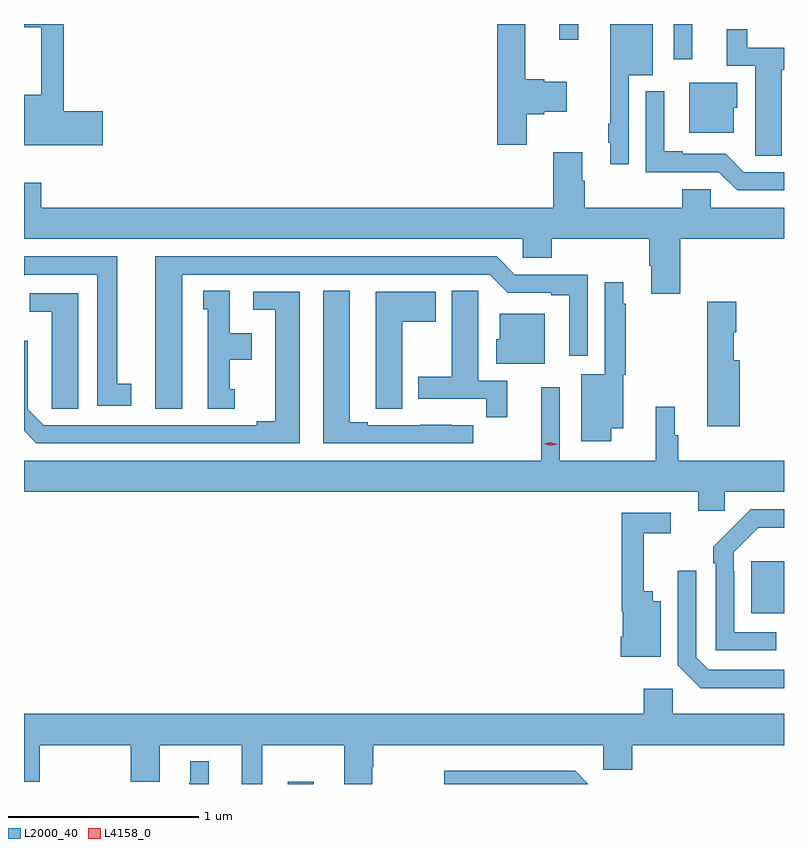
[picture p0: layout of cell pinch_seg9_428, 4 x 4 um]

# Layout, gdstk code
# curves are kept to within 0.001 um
import gdstk
lib = gdstk.Library(unit=1e-6, precision=1e-09)
def R(c, l, rs):  # rectangles x0, y0, x1, y1
    for r in rs: c.add(gdstk.rectangle(r[:2], r[2:], *l))
def P(c, l, *ps):  # polygons
    for p in ps: c.add(gdstk.Polygon(p, *l))
L2000_40 = (2000, 40)
L4158_0 = (4158, 0)

pinch_seg9_428 = lib.new_cell('pinch_seg9_428')
R(pinch_seg9_428, L2000_40, [(243.722,1209.535,243.859,1209.547), (246.161,1210.433,246.334,1210.708), (245.754,1213.35,245.852,1213.535), (245.15,1213.452,245.25,1213.535)])
P(pinch_seg9_428, L2000_40, [(244.98,1213.061),(245.073,1213.061),(245.073,1213.073),(245.191,1213.073),(245.191,1213.231),(245.073,1213.231),(245.073,1213.244),(244.972,1213.244),(244.972,1213.535),(244.826,1213.535),(244.826,1212.9),(244.98,1212.9)],
  [(245.517,1213.265),(245.644,1213.265),(245.644,1213.535),(245.42,1213.535),(245.42,1213.269),(245.419,1213.269),(245.419,1213.01),(245.409,1213.01),(245.409,1212.91),(245.42,1212.91),(245.42,1212.798),(245.517,1212.798)],
  [(242.749,1213.076),(242.543,1213.076),(242.543,1213.535),(242.334,1213.535),(242.334,1213.518),(242.426,1213.518),(242.426,1213.162),(242.336,1213.162),(242.336,1212.898),(242.749,1212.898)],
  [(246.322,1213.294),(246.334,1213.294),(246.334,1213.41),(246.14,1213.41),(246.14,1213.507),(246.032,1213.507),(246.032,1213.314),(246.182,1213.314),(246.182,1212.952),(246.183,1212.952),(246.183,1212.841),(246.322,1212.841)],
  [(246.07,1213.095),(246.088,1213.095),(246.088,1213.225),(245.834,1213.225),(245.834,1212.962),(246.07,1212.962)],
  [(246.334,1212.756),(246.123,1212.756),(246.027,1212.852),(245.8,1212.852),(245.8,1212.865),(245.704,1212.865),(245.704,1213.18),(245.607,1213.18),(245.607,1212.756),(245.991,1212.756),(246.087,1212.66),(246.334,1212.66)],
  [(245.789,1212.404),(246.334,1212.404),(246.334,1212.568),(245.949,1212.568),(245.949,1212.666),(245.798,1212.666),(245.798,1212.568),(245.285,1212.568),(245.285,1212.71),(245.272,1212.71),(245.272,1212.859),(245.12,1212.859),(245.12,1212.568),(242.426,1212.568),(242.426,1212.7),(242.334,1212.7),(242.334,1212.404),(244.959,1212.404),(244.959,1212.306),(245.111,1212.306),(245.111,1212.404),(245.624,1212.404),(245.624,1212.262),(245.636,1212.262),(245.636,1212.114),(245.789,1212.114)],
  [(242.899,1211.642),(242.824,1211.642),(242.824,1212.312),(242.334,1212.312),(242.334,1212.21),(242.34,1212.216),(242.72,1212.216),(242.72,1211.526),(242.899,1211.526)],
  [(243.166,1212.216),(244.785,1212.216),(244.881,1212.12),(245.108,1212.12),(245.108,1212.108),(245.204,1212.108),(245.204,1211.79),(245.301,1211.79),(245.301,1212.216),(244.917,1212.216),(244.821,1212.312),(243.026,1212.312),(243.026,1211.511),(243.166,1211.511)],
  [(245.425,1211.408),(245.488,1211.408),(245.488,1211.688),(245.5,1211.688),(245.5,1212.062),(245.488,1212.062),(245.488,1212.175),(245.391,1212.175),(245.391,1211.692),(245.267,1211.692),(245.267,1211.34),(245.425,1211.34)],
  [(244.699,1211.424),(244.586,1211.424),(244.586,1211.425),(244.42,1211.425),(244.42,1211.424),(244.144,1211.424),(244.144,1211.439),(244.048,1211.439),(244.048,1212.131),(243.908,1212.131),(243.908,1211.328),(244.699,1211.328)],
  [(243.442,1211.613),(243.418,1211.613),(243.418,1211.768),(243.532,1211.768),(243.532,1211.908),(243.418,1211.908),(243.418,1212.131),(243.278,1212.131),(243.278,1212.033),(243.302,1212.033),(243.302,1211.511),(243.442,1211.511)],
  [(244.877,1211.658),(244.726,1211.658),(244.726,1212.02),(244.725,1212.02),(244.725,1212.131),(244.586,1212.131),(244.586,1211.679),(244.409,1211.679),(244.409,1211.562),(244.768,1211.562),(244.768,1211.466),(244.877,1211.466)],
  [(244.324,1211.968),(244.501,1211.968),(244.501,1212.127),(244.184,1212.127),(244.184,1211.617),(244.185,1211.617),(244.185,1211.509),(244.324,1211.509)],
  [(243.784,1212.126),(243.54,1212.126),(243.54,1212.03),(243.656,1212.03),(243.656,1211.444),(243.56,1211.444),(243.56,1211.424),(242.439,1211.424),(242.355,1211.508),(242.355,1211.869),(242.334,1211.869),(242.334,1211.393),(242.399,1211.328),(243.784,1211.328)],
  [(242.62,1212.117),(242.364,1212.117),(242.364,1212.02),(242.48,1212.02),(242.48,1211.617),(242.481,1211.617),(242.481,1211.509),(242.62,1211.509)],
  [(246.101,1211.766),(246.07,1211.766),(246.07,1211.913),(246.083,1211.913),(246.083,1212.073),(245.929,1212.073),(245.929,1211.766),(245.93,1211.766),(245.93,1211.418),(246.101,1211.418)],
  [(245.074,1212.01),(244.838,1212.01),(244.838,1211.877),(244.82,1211.877),(244.82,1211.747),(245.074,1211.747)],
  [(246.021,1211.072),(246.334,1211.072),(246.334,1211.236),(245.777,1211.236),(245.777,1211.37),(245.758,1211.37),(245.758,1211.521),(245.659,1211.521),(245.659,1211.236),(245.154,1211.236),(245.154,1211.623),(245.057,1211.623),(245.057,1211.236),(242.334,1211.236),(242.334,1211.072),(245.882,1211.072),(245.882,1210.974),(246.021,1210.974)],
  [(246.292,1210.335),(246.072,1210.335),(246.072,1210.655),(246.069,1210.655),(246.069,1210.755),(246.198,1210.884),(246.334,1210.884),(246.334,1210.98),(246.158,1210.98),(245.961,1210.785),(245.961,1210.697),(245.976,1210.697),(245.976,1210.239),(246.292,1210.239)],
  [(245.686,1210.498),(245.644,1210.498),(245.644,1210.549),(245.597,1210.549),(245.597,1210.854),(245.737,1210.854),(245.737,1210.962),(245.479,1210.962),(245.479,1210.445),(245.486,1210.445),(245.486,1210.309),(245.474,1210.309),(245.474,1210.205),(245.686,1210.205)],
  [(246.334,1210.137),(245.937,1210.137),(245.871,1210.203),(245.871,1210.657),(245.775,1210.657),(245.775,1210.161),(245.896,1210.04),(246.334,1210.04)],
  [(243.589,1209.74),(244.019,1209.74),(244.019,1209.535),(244.167,1209.535),(244.167,1209.627),(244.172,1209.627),(244.172,1209.74),(245.382,1209.74),(245.382,1209.609),(245.534,1209.609),(245.534,1209.74),(246.334,1209.74),(246.334,1209.904),(245.748,1209.904),(245.748,1210.036),(245.597,1210.036),(245.597,1209.904),(242.334,1209.904),(242.334,1209.546),(242.417,1209.546),(242.417,1209.74),(242.897,1209.74),(242.897,1209.548),(243.049,1209.548),(243.049,1209.74),(243.479,1209.74),(243.479,1209.535),(243.589,1209.535)],
  [(243.307,1209.655),(243.209,1209.655),(243.209,1209.545),(243.205,1209.545),(243.205,1209.535),(243.307,1209.535)],
  [(245.234,1209.604),(244.545,1209.604),(244.545,1209.535),(245.303,1209.535)])
P(pinch_seg9_428, L4158_0, [(245.106,1211.314),(245.071,1211.325),(245.071,1211.325),(245.071,1211.325),(245.106,1211.334),(245.141,1211.323),(245.141,1211.323),(245.141,1211.323)])

lib.write_gds('pinch_seg9_428.gds')
